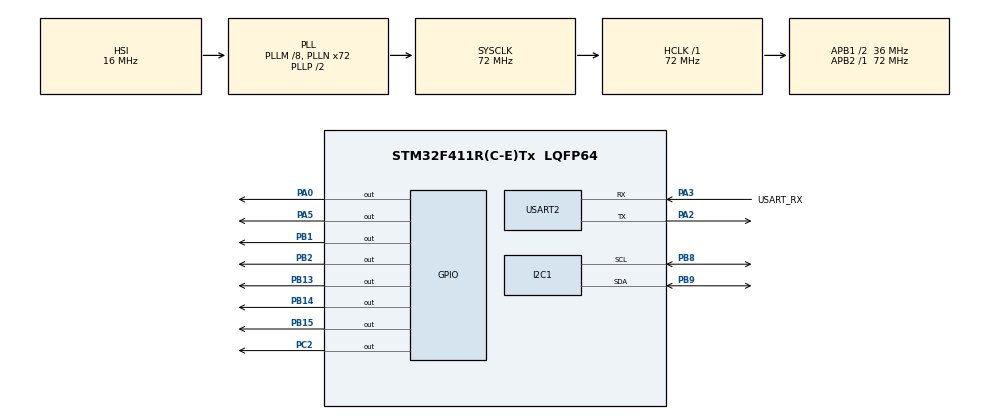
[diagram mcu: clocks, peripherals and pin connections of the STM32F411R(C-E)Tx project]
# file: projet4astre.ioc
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Mcu.Family=STM32F4
Mcu.Name=STM32F411R(C-E)Tx
Mcu.Package=LQFP64
NVIC.PriorityGroup=NVIC_PRIORITYGROUP_0
PA0-WKUP.Signal=GPIO_Output
PA13.GPIO_Label=TMS
PA13.Mode=Serial_Wire
PA13.Signal=SYS_JTMS-SWDIO
PA14.GPIO_Label=TCK
PA14.Mode=Serial_Wire
PA14.Signal=SYS_JTCK-SWCLK
PA2.Mode=Asynchronous
PA2.Signal=USART2_TX
PA3.GPIO_Label=USART_RX
PA3.Mode=Asynchronous
PA3.Signal=USART2_RX
PA5.Signal=GPIO_Output
PB1.GPIO_PuPd=GPIO_PULLDOWN
PB1.Signal=GPIO_Output
PB13.GPIO_PuPd=GPIO_PULLDOWN
PB13.Signal=GPIO_Output
PB14.GPIO_PuPd=GPIO_PULLDOWN
PB14.Signal=GPIO_Output
PB15.GPIO_PuPd=GPIO_NOPULL
PB15.Signal=GPIO_Output
PB2.GPIO_PuPd=GPIO_PULLDOWN
PB2.Signal=GPIO_Output
PB3.GPIO_Label=SWO
PB3.Signal=SYS_JTDO-SWO
PB8.GPIO_Pu=GPIO_PULLUP
PB8.Mode=I2C
PB8.Signal=I2C1_SCL
PB9.GPIO_Pu=GPIO_PULLUP
PB9.Mode=I2C
PB9.Signal=I2C1_SDA
PC14-OSC32_IN.Mode=LSE-External-Oscillator
PC14-OSC32_IN.Signal=RCC_OSC32_IN
PC15-OSC32_OUT.Mode=LSE-External-Oscillator
PC15-OSC32_OUT.Signal=RCC_OSC32_OUT
PC2.GPIO_PuPd=GPIO_PULLUP
PC2.PinState=GPIO_PIN_SET
PC2.Signal=GPIO_Output
PH0\ -\ OSC_IN.Signal=RCC_OSC_IN
PH1\ -\ OSC_OUT.Signal=RCC_OSC_OUT
ProjectManager.HeapSize=0x200
ProjectManager.StackSize=0x400
ProjectManager.TargetToolchain=STM32CubeIDE
RCC.48MHZClocksFreq_Value=36000000
RCC.AHBFreq_Value=72000000
RCC.APB1CLKDivider=RCC_HCLK_DIV2
RCC.APB1Freq_Value=36000000
RCC.APB1TimFreq_Value=72000000
RCC.APB2Freq_Value=72000000
RCC.APB2TimFreq_Value=72000000
RCC.CortexFreq_Value=72000000
RCC.FLatency-AdvancedSettings=FLASH_LATENCY_2
RCC.HCLKFreq_Value=72000000
RCC.HSE_VALUE=8000000
RCC.HSI_VALUE=16000000
RCC.LSE_Drive_Capability=RCC_LSEDRIVE_LOW
RCC.LSE_Drive_CapabilityArg=RCC_LSEDRIVE_LOW
RCC.MSIAutoCalibration=ENABLED
RCC.MSICalibrationValue=0
RCC.PLLM=8
RCC.PLLN=72
RCC.SYSCLKFreq_VALUE=72000000
RCC.SYSCLKSource=RCC_SYSCLKSOURCE_PLLCLK
RCC.VCOOutputFreq_Value=144000000
TIM1.Prescaler=71
USART2.VirtualMode=VM_ASYNC
VP_TIM1_VS_ClockSourceINT.Mode=Internal
board=NUCLEO-F411RE

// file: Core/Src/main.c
/* USER CODE BEGIN Header */
/**
  ******************************************************************************
  * @file           : main.c
  * @brief          : Main program body
  ******************************************************************************
  * @attention
  *
  * Copyright (c) 2025 STMicroelectronics.
  * All rights reserved.
  *
  * This software is licensed under terms that can be found in the LICENSE file
  * in the root directory of this software component.
  * If no LICENSE file comes with this software, it is provided AS-IS.
  *
  ******************************************************************************
  */
/* USER CODE END Header */

#include "main.h"

/* USER CODE BEGIN Includes */
#include "stdio.h"
#include "i2c-lcd.h"
#include "string.h"
/* USER CODE END Includes */

/* USER CODE BEGIN PD */

#define SECRET_CODE_LENGTH 3
#define INPUT_TIMEOUT 5000  // 5 seconds in milliseconds

/* USER CODE END PD */

/* USER CODE BEGIN PM */
void start_signal(void);
void delay_us(uint16_t us);
uint8_t check_response(void);
uint8_t read_byte(void);
void process_sensor_data(void);
void Security_System_Handler(void);
/* USER CODE END PM */
/* USER CODE END PM */

I2C_HandleTypeDef hi2c1;

TIM_HandleTypeDef htim1;

UART_HandleTypeDef huart2;

/* USER CODE BEGIN PV */
char msg[50];
uint8_t TOUT = 0, CheckSum, i;
uint8_t T_Byte1, T_Byte2, RH_Byte1, RH_Byte2;

// Security system variables
const uint8_t SECRET_CODE[SECRET_CODE_LENGTH] = {0, 1, 2};  // Red=0, Green=1, White=2, Yellow=3
uint8_t button_history[SECRET_CODE_LENGTH] = {0};
uint8_t input_index = 0;
uint32_t last_press_time = 0;
uint8_t door_open = 0;
/* USER CODE END PV */

void SystemClock_Config(void);
static void MX_GPIO_Init(void);
static void MX_USART2_UART_Init(void);
static void MX_I2C1_Init(void);
static void MX_TIM1_Init(void);

/* USER CODE BEGIN 0 */
#define DHT11_PORT GPIOC
#define DHT11_PIN GPIO_PIN_2
#define BUZZER_PORT GPIOB
#define BUZZER_PIN GPIO_PIN_15
#define BUTTON_RED_PIN GPIO_PIN_1
#define BUTTON_GREEN_PIN GPIO_PIN_2
#define BUTTON_BLUE_PIN GPIO_PIN_13

#define LED_PIN2 GPIO_PIN_7
#define BUTTON_PORT GPIOB
uint8_t RHI, RHD, TCI, TCD, SUM;
uint32_t pMillis, cMillis;
float tCelsius = 0;
float tFahrenheit = 0;
float RH = 0;

void microDelay (uint16_t delay)
{
  __HAL_TIM_SET_COUNTER(&htim1, 0);
  while (__HAL_TIM_GET_COUNTER(&htim1) < delay);
}

uint8_t DHT11_Start (void)
{
  uint8_t Response = 0;
  GPIO_InitTypeDef GPIO_InitStructPrivate = {0};
  GPIO_InitStructPrivate.Pin = DHT11_PIN;
  GPIO_InitStructPrivate.Mode = GPIO_MODE_OUTPUT_PP;
  GPIO_InitStructPrivate.Speed = GPIO_SPEED_FREQ_LOW;
  GPIO_InitStructPrivate.Pull = GPIO_NOPULL;
  HAL_GPIO_Init(DHT11_PORT, &GPIO_InitStructPrivate); // set the pin as output
  HAL_GPIO_WritePin (DHT11_PORT, DHT11_PIN, 0);   // pull the pin low
  HAL_Delay(20);   // wait for 20ms
  HAL_GPIO_WritePin (DHT11_PORT, DHT11_PIN, 1);   // pull the pin high
  microDelay (30);   // wait for 30us
  GPIO_InitStructPrivate.Mode = GPIO_MODE_INPUT;
  GPIO_InitStructPrivate.Pull = GPIO_PULLUP;
  HAL_GPIO_Init(DHT11_PORT, &GPIO_InitStructPrivate); // set the pin as input
  microDelay (40);
  if (!(HAL_GPIO_ReadPin (DHT11_PORT, DHT11_PIN)))
  {
    microDelay (80);
    if ((HAL_GPIO_ReadPin (DHT11_PORT, DHT11_PIN))) Response = 1;
  }
  pMillis = HAL_GetTick();
  cMillis = HAL_GetTick();
  while ((HAL_GPIO_ReadPin (DHT11_PORT, DHT11_PIN)) && pMillis + 2 > cMillis)
  {
    cMillis = HAL_GetTick();
  }
  return Response;
}

uint8_t DHT11_Read (void)
{
  uint8_t a,b;
  for (a=0;a<8;a++)
  {
    pMillis = HAL_GetTick();
    cMillis = HAL_GetTick();
    while (!(HAL_GPIO_ReadPin (DHT11_PORT, DHT11_PIN)) && pMillis + 2 > cMillis)
    {  // wait for the pin to go high
      cMillis = HAL_GetTick();
    }
    microDelay (40);   // wait for 40 us
    if (!(HAL_GPIO_ReadPin (DHT11_PORT, DHT11_PIN)))   // if the pin is low
      b&= ~(1<<(7-a));
    else
      b|= (1<<(7-a));
    pMillis = HAL_GetTick();
    cMillis = HAL_GetTick();
    while ((HAL_GPIO_ReadPin (DHT11_PORT, DHT11_PIN)) && pMillis + 2 > cMillis)
    {  // wait for the pin to go low
      cMillis = HAL_GetTick();
    }
  }
  return b;
}

/* Gestionnaire du système de sécurité */

void Security_System_Handler(void) {
    // Lire l'état des boutons (actif bas)
    uint8_t rouge = !HAL_GPIO_ReadPin(BUTTON_PORT, BUTTON_RED_PIN);
    uint8_t vert = !HAL_GPIO_ReadPin(BUTTON_PORT, BUTTON_GREEN_PIN);
    uint8_t bleu = !HAL_GPIO_ReadPin(BUTTON_PORT, BUTTON_BLUE_PIN);

    if (input_index < SECRET_CODE_LENGTH) {
        if (rouge) {
            button_history[input_index++] = 0; // Enregistre l'appui sur le bouton rouge
            last_press_time = HAL_GetTick();
            lcd_clear();
            lcd_init();
            lcd_send_string("R");
            HAL_Delay(1000); // Délai pour éviter les appuis multiples
        }
        else if (vert) {
            button_history[input_index++] = 1; // Enregistre l'appui sur le bouton vert
            last_press_time = HAL_GetTick();
            lcd_clear();
            lcd_init();
            lcd_send_string("G");
            HAL_Delay(1000);
        }
        else if (bleu) {
            button_history[input_index++] = 2; // Enregistre l'appui sur le bouton bleu
            last_press_time = HAL_GetTick();
            lcd_clear();
            lcd_init();
            lcd_send_string("B");
            HAL_Delay(1000);
        }

    }

    // Vérifier le code après 6 secondes
    if((HAL_GetTick() - last_press_time > 6000) && (input_index > 0)) {
        if(memcmp(button_history, SECRET_CODE, SECRET_CODE_LENGTH) == 0) {
            door_open = 1;
            char buff[64];
            sprintf(buff, "\033[2J\033[H"); // ANSI escape codes to clear screen and move cursor
            HAL_UART_Transmit(&huart2, (uint8_t *)buff, strlen(buff), HAL_MAX_DELAY);

            sprintf(buff,"Correct! Welcome to your house");
            HAL_UART_Transmit(&huart2, (uint8_t *)buff, strlen(buff), HAL_MAX_DELAY);

            lcd_clear();
            lcd_init();
            lcd_send_string("OPEN");

            HAL_Delay(2000);
            HAL_GPIO_WritePin(GPIOA, GPIO_PIN_5, GPIO_PIN_SET);
            HAL_GPIO_WritePin(BUZZER_PORT, BUZZER_PIN, GPIO_PIN_SET);
            HAL_Delay(500);
            HAL_GPIO_WritePin(BUZZER_PORT, BUZZER_PIN, GPIO_PIN_RESET);

        } else {
        	 char buff[64];
        	 sprintf(buff, "\033[2J\033[H"); // ANSI escape codes to clear screen and move cursor
        	 HAL_UART_Transmit(&huart2, (uint8_t *)buff, strlen(buff), HAL_MAX_DELAY);

        	 sprintf(buff,"Warniiiing !! Access to your house !");
        	 HAL_UART_Transmit(&huart2, (uint8_t *)buff, strlen(buff), HAL_MAX_DELAY);

        	lcd_clear();
        	lcd_init();
            lcd_send_string("ERROR!");

            HAL_Delay(2000);

            HAL_GPIO_WritePin(BUZZER_PORT, BUZZER_PIN, GPIO_PIN_SET);
            HAL_Delay(2000);
            HAL_GPIO_WritePin(BUZZER_PORT, BUZZER_PIN, GPIO_PIN_RESET);

        }
        input_index = 0;
        memset(button_history, 0, sizeof(button_history));
    }
}
void display_values() {
    if (DHT11_Start()) {
        RHI = DHT11_Read(); // Relative humidity integral
        RHD = DHT11_Read(); // Relative humidity decimal
        TCI = DHT11_Read(); // Celsius integral
        TCD = DHT11_Read(); // Celsius decimal
        SUM = DHT11_Read(); // Check sum

        if (RHI + RHD + TCI + TCD == SUM) {

            tCelsius = (float)TCI + (float)(TCD / 10.0);
            RH = (float)RHI + (float)(RHD / 10.0);

            lcd_clear();

            lcd_put_cur(0, 0);
            lcd_send_string("Temp: ");

            int temp_int_part = (int)tCelsius; // Integer part of temperature
            int temp_frac_part = (int)((tCelsius - temp_int_part) * 10); // Fractional part of temperature

            lcd_send_char(temp_int_part / 10 + '0'); // Tens place
            lcd_send_char(temp_int_part % 10 + '0'); // Units place
            lcd_send_char('.');
            lcd_send_char(temp_frac_part + '0');
            lcd_send_char(223);
            lcd_send_string("C");

            static uint8_t previous_state = 0;

            if (tCelsius > 25) {
                lcd_put_cur(1, 0);
                lcd_send_string("HIGH temp");

                if (previous_state != 1) {
                    HAL_GPIO_WritePin(BUZZER_PORT, BUZZER_PIN, GPIO_PIN_SET);
                    char buff[64];
                                sprintf(buff, "\033[2J\033[H"); // ANSI escape codes to clear screen and move cursor
                                HAL_UART_Transmit(&huart2, (uint8_t *)buff, strlen(buff), HAL_MAX_DELAY);

                                sprintf(buff,"OPEN THE WINDOOOW QUICKLY");
                                HAL_UART_Transmit(&huart2, (uint8_t *)buff, strlen(buff), HAL_MAX_DELAY);
                    HAL_Delay(1000); // Buzzer court

                    HAL_GPIO_WritePin(BUZZER_PORT, BUZZER_PIN, GPIO_PIN_RESET);
                    previous_state = 1;
                }
            } else if (tCelsius < 15) {
                lcd_put_cur(1, 0);
                lcd_send_string("LOW temp");

                if (previous_state != 2) {
                    HAL_GPIO_WritePin(BUZZER_PORT, BUZZER_PIN, GPIO_PIN_SET);
                    HAL_Delay(1000); // Buzzer court
                    HAL_GPIO_WritePin(BUZZER_PORT, BUZZER_PIN, GPIO_PIN_RESET);
                    previous_state = 2;
                }
            }

            lcd_put_cur(1, 0);
            lcd_send_string("RH: ");

            int rh_int_part = (int)RH;
            int rh_frac_part = (int)((RH - rh_int_part) * 10);

            lcd_send_char(rh_int_part / 10 + '0');
            lcd_send_char(rh_int_part % 10 + '0');
            lcd_send_char('.');
            lcd_send_char(rh_frac_part + '0');
            lcd_send_string(" %");
            static uint8_t previous_state2 = 0;
            if (RH > 60) {
                                       lcd_put_cur(0, 0);
                                       lcd_send_string("HIGH humidity");

                                       if (previous_state2 != 1) {
                                    	   char buff[64];
                                           HAL_GPIO_WritePin(BUZZER_PORT, BUZZER_PIN, GPIO_PIN_SET);
                                           sprintf(buff, "\033[2J\033[H"); // ANSI escape codes to clear screen and move cursor
                                            HAL_UART_Transmit(&huart2, (uint8_t *)buff, strlen(buff), HAL_MAX_DELAY);

                                            sprintf(buff,"Activer l'aspirateur !!! ");
                                            HAL_UART_Transmit(&huart2, (uint8_t *)buff, strlen(buff), HAL_MAX_DELAY);
                                           HAL_Delay(2000);
                                           HAL_GPIO_WritePin(BUZZER_PORT, BUZZER_PIN, GPIO_PIN_RESET);
                                           previous_state2 = 1;
                                       }
                                   } else if (RH < 20) {
                                       lcd_put_cur(0, 0);
                                       lcd_send_string("LOW humidity");

                                       if (previous_state2 != 2) {
                                           HAL_GPIO_WritePin(BUZZER_PORT, BUZZER_PIN, GPIO_PIN_SET);
                                           HAL_Delay(1000);
                                           HAL_GPIO_WritePin(BUZZER_PORT, BUZZER_PIN, GPIO_PIN_RESET);
                                           previous_state2 = 2;
                                       }
                                   }
        } else {
            // En cas d'erreur de checksum
            lcd_clear();
            lcd_put_cur(0, 0);
            lcd_send_string("Checksum Err!");
        }
    }
}
/* USER CODE END 0 */

int main(void)
{

  /* MCU Configuration--------------------------------------------------------*/

  /* Reset of all peripherals, Initializes the Flash interface and the Systick. */
  HAL_Init();

  /* Configure the system clock */
  SystemClock_Config();

  /* Initialize all configured peripherals */
  MX_GPIO_Init();
  MX_USART2_UART_Init();
  MX_I2C1_Init();
  MX_TIM1_Init();
  /* USER CODE BEGIN 2 */
  HAL_TIM_Base_Start(&htim1);
  HAL_GPIO_WritePin(GPIOA, GPIO_PIN_5, GPIO_PIN_RESET);
  lcd_init();
  lcd_clear();
  lcd_put_cur(0, 0);
  lcd_send_string("Starting...");
  HAL_Delay(500);
  /* USER CODE END 2 */

  /* Infinite loop */
  /* USER CODE BEGIN WHILE */

  while (1)
  {

	  if(door_open) {
		  display_values();

	      }
	  else{

		  Security_System_Handler();
		  display_values();

	  }
	  display_values();

	  HAL_Delay(400);
    /* USER CODE END WHILE */

  }
}

void SystemClock_Config(void)
{
  RCC_OscInitTypeDef RCC_OscInitStruct = {0};
  RCC_ClkInitTypeDef RCC_ClkInitStruct = {0};

  /** Configure the main internal regulator output voltage
  */
  __HAL_RCC_PWR_CLK_ENABLE();
  __HAL_PWR_VOLTAGESCALING_CONFIG(PWR_REGULATOR_VOLTAGE_SCALE1);

  /** Initializes the RCC Oscillators according to the specified parameters
  * in the RCC_OscInitTypeDef structure.
  */
  RCC_OscInitStruct.OscillatorType = RCC_OSCILLATORTYPE_HSI;
  RCC_OscInitStruct.HSIState = RCC_HSI_ON;
  RCC_OscInitStruct.HSICalibrationValue = RCC_HSICALIBRATION_DEFAULT;
  RCC_OscInitStruct.PLL.PLLState = RCC_PLL_ON;
  RCC_OscInitStruct.PLL.PLLSource = RCC_PLLSOURCE_HSI;
  RCC_OscInitStruct.PLL.PLLM = 8;
  RCC_OscInitStruct.PLL.PLLN = 72;
  RCC_OscInitStruct.PLL.PLLP = RCC_PLLP_DIV2;
  RCC_OscInitStruct.PLL.PLLQ = 4;
  if (HAL_RCC_OscConfig(&RCC_OscInitStruct) != HAL_OK)
  {
    Error_Handler();
  }

  /** Initializes the CPU, AHB and APB buses clocks
  */
  RCC_ClkInitStruct.ClockType = RCC_CLOCKTYPE_HCLK|RCC_CLOCKTYPE_SYSCLK
                              |RCC_CLOCKTYPE_PCLK1|RCC_CLOCKTYPE_PCLK2;
  RCC_ClkInitStruct.SYSCLKSource = RCC_SYSCLKSOURCE_PLLCLK;
  RCC_ClkInitStruct.AHBCLKDivider = RCC_SYSCLK_DIV1;
  RCC_ClkInitStruct.APB1CLKDivider = RCC_HCLK_DIV2;
  RCC_ClkInitStruct.APB2CLKDivider = RCC_HCLK_DIV1;

  if (HAL_RCC_ClockConfig(&RCC_ClkInitStruct, FLASH_LATENCY_2) != HAL_OK)
  {
    Error_Handler();
  }
}

static void MX_I2C1_Init(void)
{

  hi2c1.Instance = I2C1;
  hi2c1.Init.ClockSpeed = 100000;
  hi2c1.Init.DutyCycle = I2C_DUTYCYCLE_2;
  hi2c1.Init.OwnAddress1 = 0;
  hi2c1.Init.AddressingMode = I2C_ADDRESSINGMODE_7BIT;
  hi2c1.Init.DualAddressMode = I2C_DUALADDRESS_DISABLE;
  hi2c1.Init.OwnAddress2 = 0;
  hi2c1.Init.GeneralCallMode = I2C_GENERALCALL_DISABLE;
  hi2c1.Init.NoStretchMode = I2C_NOSTRETCH_DISABLE;
  if (HAL_I2C_Init(&hi2c1) != HAL_OK)
  {
    Error_Handler();
  }

}

static void MX_TIM1_Init(void)
{

  TIM_ClockConfigTypeDef sClockSourceConfig = {0};
  TIM_MasterConfigTypeDef sMasterConfig = {0};

  htim1.Instance = TIM1;
  htim1.Init.Prescaler = 71;
  htim1.Init.CounterMode = TIM_COUNTERMODE_UP;
  htim1.Init.Period = 65535;
  htim1.Init.ClockDivision = TIM_CLOCKDIVISION_DIV1;
  htim1.Init.RepetitionCounter = 0;
  htim1.Init.AutoReloadPreload = TIM_AUTORELOAD_PRELOAD_DISABLE;
  if (HAL_TIM_Base_Init(&htim1) != HAL_OK)
  {
    Error_Handler();
  }
  sClockSourceConfig.ClockSource = TIM_CLOCKSOURCE_INTERNAL;
  if (HAL_TIM_ConfigClockSource(&htim1, &sClockSourceConfig) != HAL_OK)
  {
    Error_Handler();
  }
  sMasterConfig.MasterOutputTrigger = TIM_TRGO_RESET;
  sMasterConfig.MasterSlaveMode = TIM_MASTERSLAVEMODE_DISABLE;
  if (HAL_TIMEx_MasterConfigSynchronization(&htim1, &sMasterConfig) != HAL_OK)
  {
    Error_Handler();
  }

}

static void MX_USART2_UART_Init(void)
{

  huart2.Instance = USART2;
  huart2.Init.BaudRate = 115200;
  huart2.Init.WordLength = UART_WORDLENGTH_8B;
  huart2.Init.StopBits = UART_STOPBITS_1;
  huart2.Init.Parity = UART_PARITY_NONE;
  huart2.Init.Mode = UART_MODE_TX_RX;
  huart2.Init.HwFlowCtl = UART_HWCONTROL_NONE;
  huart2.Init.OverSampling = UART_OVERSAMPLING_16;
  if (HAL_UART_Init(&huart2) != HAL_OK)
  {
    Error_Handler();
  }

}

static void MX_GPIO_Init(void)
{
  GPIO_InitTypeDef GPIO_InitStruct = {0};

  /* GPIO Ports Clock Enable */
  __HAL_RCC_GPIOC_CLK_ENABLE();
  __HAL_RCC_GPIOH_CLK_ENABLE();
  __HAL_RCC_GPIOA_CLK_ENABLE();
  __HAL_RCC_GPIOB_CLK_ENABLE();

  /*Configure GPIO pin Output Level */
  HAL_GPIO_WritePin(GPIOC, GPIO_PIN_2, GPIO_PIN_RESET);

  //*Configure GPIO pin : PC2 */
  GPIO_InitStruct.Pin = GPIO_PIN_2;
  GPIO_InitStruct.Mode = GPIO_MODE_OUTPUT_PP;
  GPIO_InitStruct.Pull = GPIO_NOPULL;
  GPIO_InitStruct.Speed = GPIO_SPEED_FREQ_LOW;
  HAL_GPIO_Init(GPIOC, &GPIO_InitStruct);

      GPIO_InitStruct.Pin = BUTTON_RED_PIN | BUTTON_GREEN_PIN | BUTTON_BLUE_PIN;
      GPIO_InitStruct.Mode = GPIO_MODE_INPUT;
      GPIO_InitStruct.Pull = GPIO_PULLUP; // Boutons connectés à GND
      HAL_GPIO_Init(BUTTON_PORT, &GPIO_InitStruct);

      GPIO_InitStruct.Pin = GPIO_PIN_5 | GPIO_PIN_0;
      GPIO_InitStruct.Mode = GPIO_MODE_OUTPUT_PP;
      GPIO_InitStruct.Pull = GPIO_NOPULL;
      HAL_GPIO_Init(GPIOA, &GPIO_InitStruct);
      // Configuration buzzer
      GPIO_InitStruct.Pin = BUZZER_PIN;
      GPIO_InitStruct.Mode = GPIO_MODE_OUTPUT_PP;
      GPIO_InitStruct.Pull = GPIO_NOPULL;
      HAL_GPIO_Init(BUZZER_PORT, &GPIO_InitStruct);

}

void Error_Handler(void)
{
  __disable_irq();
  while (1)
  {
  }
}
